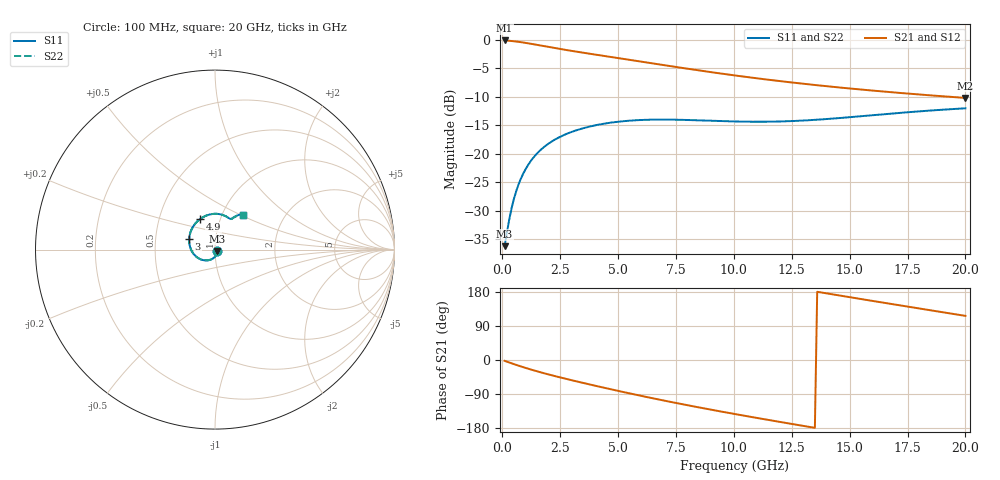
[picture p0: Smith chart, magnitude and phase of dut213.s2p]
! Touchstone file exported from HFSS 2023.1.0
!  File:  D:/Users/fzz/RDL_TSV/temp_RDL_TSV_213_1778757369.aedt
!  Generated:  7:26:00 %x4E0B%x5348  5%x6708 14, 2026
!  Design:  RDL_TSV
!  Project:  temp_RDL_TSV_213_1778757369
!  Setup:  Setup1
!  Solution:  Sweep
! Variables:
!  dtsv = 15.99um
!  hbump = 3um
!  htsv = 79.3um
!  ldown = 225.08um
!  lrdl = 695.84um
!  p = 40
!  p1 = 43.63um
!  rhole = 10um
!  subl = 3458.6um
!  t = 450um
!  tdown = 3.92um
!  trdl = 3.36um
!  viad = 10um
!  wdown = 19.65um
!  wrdl = 28.99um
!  xbump = 18um
# GHz S MA R 50.000000
! Terminal data exported
! Port[1] = TM1_1_T1
! Port[2] = TM1_4_T1
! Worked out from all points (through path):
!   200 points, 100 MHz to 20 GHz, reference 50 ohm
!   highest |S21| = -0.13 dB at 100 MHz (marker M1); lowest = -10.2 dB at 20 GHz (marker M2)
!   group delay of S21, straight-line fit = 32.2 ps
!   lowest |S11| = -36.2 dB at 100 MHz (marker M3), VSWR 1.03, Z = 51.4 - j0.779 ohm
!   |S11| at or under -10 dB: start of sweep to end of sweep
!   |S22| runs from -36.2 to -12.1 dB; largest |S21 - S12| = 2.2e-14
!   S11 on the Smith chart (normalised r, x): 100 MHz: 1.03, -0.02; 3 GHz: 0.74, +0.09; 4.9 GHz: 0.80, +0.29; 20 GHz: 1.25, +0.52
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0.1  0.01549 -29.3  0.9853 -2.3  0.9853 -2.3  0.01549 -29.3
! Gamma 0 0 0 0
! Port Impedance 50 0 50 0
0.3  0.02652 -68.3  0.9789 -6.6  0.9789 -6.6  0.02652 -68.3
0.5  0.04008 -90.4  0.9699 -10.8  0.9699 -10.8  0.04009 -90.4
0.7  0.05369 -106.1  0.9587 -14.9  0.9587 -14.9  0.0537 -106.1
1  0.07292 -124.7  0.9388 -20.8  0.9388 -20.8  0.07292 -124.7
1.4  0.09549 -145.0  0.9088 -28.1  0.9088 -28.1  0.0955 -145.0
1.8  0.1145 -162.2  0.8785 -34.9  0.8785 -34.9  0.1145 -162.1
2.4  0.1376 176.0  0.8359 -44.4  0.8359 -44.4  0.1376 176.0
3  0.1556 157.7  0.7978 -53.4  0.7978 -53.4  0.1556 157.8
3.5  0.1676 144.6  0.7688 -60.7  0.7688 -60.7  0.1676 144.7
4.2  0.1807 128.8  0.731 -70.5  0.731 -70.5  0.1806 128.8
4.9  0.1899 115.4  0.6953 -80.1  0.6953 -80.1  0.1899 115.5
5.8  0.1969 101.3  0.6517 -92.1  0.6517 -92.1  0.1969 101.2
6.8  0.1995 88.8  0.6063 -104.8  0.6063 -104.8  0.1994 88.7
8.4  0.1967 75.0  0.5417 -124.0  0.5417 -124.0  0.1966 74.8
10.1  0.1918 66.8  0.4845 -143.2  0.4845 -143.2  0.1917 66.6
11.7  0.1914 63.2  0.4407 -160.4  0.4407 -160.4  0.1911 62.9
13.4  0.1978 61.4  0.4029 -178.0  0.4029 -178.0  0.1972 61.0
15.1  0.2101 59.7  0.3721 164.8  0.3721 164.8  0.209 59.3
16.7  0.2241 57.5  0.348 148.8  0.348 148.8  0.2227 57.1
18.3  0.2379 54.7  0.3275 133.1  0.3275 133.1  0.2362 54.2
20  0.2503 51.3  0.3089 116.5  0.3089 116.5  0.2483 50.9
